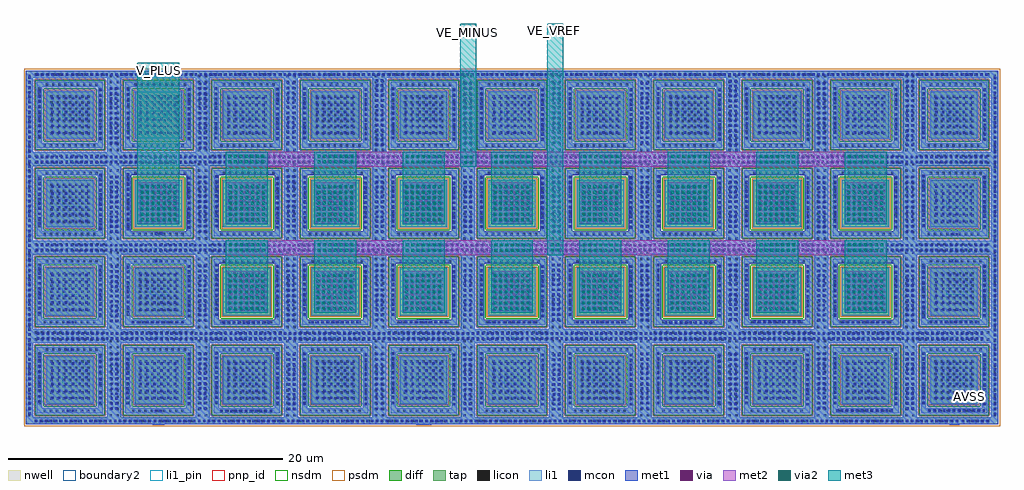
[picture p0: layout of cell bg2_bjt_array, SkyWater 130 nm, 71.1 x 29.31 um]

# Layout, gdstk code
import gdstk
lib = gdstk.Library(unit=1e-6, precision=1e-09)
def R(c, l, rs):  # rectangles x0, y0, x1, y1
    for r in rs: c.add(gdstk.rectangle(r[:2], r[2:], *l))
def A(c, l, x, y, w, h, nx, ny, dx, dy):  # array of equal rectangles
    R(c, l, [(x+i*dx, y+j*dy, x+i*dx+w, y+j*dy+h) for i in range(nx) for j in range(ny)])
def P(c, l, *ps):  # polygons
    for p in ps: c.add(gdstk.Polygon(p, *l))
nwell = (64, 20)
diff = (65, 20)
tap = (65, 44)
licon = (66, 44)
li1_pin = (67, 16)
li1 = (67, 20)
mcon = (67, 44)
met1 = (68, 20)
via = (68, 44)
met2 = (69, 20)
via2 = (69, 44)
met3 = (70, 20)
pnp_id = (82, 44)
nsdm = (93, 44)
psdm = (94, 20)
boundary2 = (236, 0)

sky130_fd_pr__rf_pnp_05v = lib.new_cell('sky130_fd_pr__rf_pnp_05v5_W3p40L3p40')
R(sky130_fd_pr__rf_pnp_05v, nwell, [(0.765,0.765,5.935,5.935)])
R(sky130_fd_pr__rf_pnp_05v, diff, [(1.65,1.65,5.05,5.05)])
P(sky130_fd_pr__rf_pnp_05v, tap, [(0.945,0.945),(5.755,0.945),(5.755,5.755),(5.395,5.755),(5.395,1.305),(1.305,1.305),(1.305,5.395),(5.395,5.395),(5.395,5.755),(0.945,5.755)],
  [(0.13,0.13),(6.57,0.13),(6.57,6.57),(6.065,6.57),(6.065,0.635),(0.635,0.635),(0.635,6.065),(6.065,6.065),(6.065,6.57),(0.13,6.57)])
A(sky130_fd_pr__rf_pnp_05v, licon, 0.78, 0.29, 0.17, 0.17, 12, 2, 0.45, 5.935)
A(sky130_fd_pr__rf_pnp_05v, licon, 0.3, 0.71, 0.17, 0.17, 1, 13, 0, 0.45)
A(sky130_fd_pr__rf_pnp_05v, licon, 6.235, 0.71, 0.17, 0.17, 1, 13, 0, 0.45)
A(sky130_fd_pr__rf_pnp_05v, licon, 1.43, 1.04, 0.17, 0.17, 9, 1, 0.45, 0)
A(sky130_fd_pr__rf_pnp_05v, licon, 5.49, 1.51, 0.17, 0.17, 1, 9, 0, 0.45)
A(sky130_fd_pr__rf_pnp_05v, licon, 1.04, 1.605, 0.17, 0.17, 1, 9, 0, 0.45)
A(sky130_fd_pr__rf_pnp_05v, licon, 1.92, 1.92, 0.17, 0.17, 7, 7, 0.45, 0.45)
A(sky130_fd_pr__rf_pnp_05v, licon, 1.6, 5.49, 0.17, 0.17, 9, 1, 0.45, 0)
R(sky130_fd_pr__rf_pnp_05v, li1_pin, [(2.77,3.13,4.01,3.65), (2.95,5.51,3.54,5.71), (3.065,6.26,3.57,6.505)])
A(sky130_fd_pr__rf_pnp_05v, li1, 0.58, 0.21, 0.33, 0.33, 12, 1, 0.45, 0)
A(sky130_fd_pr__rf_pnp_05v, li1, 0.675, 0.24, 0.27, 0.27, 11, 2, 0.5, 5.96)
A(sky130_fd_pr__rf_pnp_05v, li1, 6.16, 0.54, 0.33, 0.33, 1, 13, 0, 0.45)
A(sky130_fd_pr__rf_pnp_05v, li1, 0.22, 0.63, 0.33, 0.33, 1, 13, 0, 0.45)
A(sky130_fd_pr__rf_pnp_05v, li1, 1.35, 0.96, 0.33, 0.33, 9, 1, 0.45, 0)
A(sky130_fd_pr__rf_pnp_05v, li1, 1.14, 0.985, 0.27, 0.27, 9, 1, 0.5, 0)
A(sky130_fd_pr__rf_pnp_05v, li1, 5.41, 1.43, 0.33, 0.33, 1, 9, 0, 0.45)
A(sky130_fd_pr__rf_pnp_05v, li1, 0.96, 1.525, 0.33, 0.33, 1, 9, 0, 0.45)
A(sky130_fd_pr__rf_pnp_05v, li1, 1.84, 1.84, 0.33, 0.33, 7, 7, 0.45, 0.45)
A(sky130_fd_pr__rf_pnp_05v, li1, 1.93, 1.93, 0.27, 0.27, 6, 6, 0.5, 0.5)
A(sky130_fd_pr__rf_pnp_05v, li1, 1.52, 5.41, 0.33, 0.33, 9, 1, 0.45, 0)
A(sky130_fd_pr__rf_pnp_05v, li1, 1.155, 5.44, 0.27, 0.27, 9, 1, 0.5, 0)
A(sky130_fd_pr__rf_pnp_05v, li1, 0.7, 6.165, 0.33, 0.33, 12, 1, 0.45, 0)
R(sky130_fd_pr__rf_pnp_05v, li1, [(1.615,1.615,5.085,5.085), (1.65,1.65,5.05,5.05)])
P(sky130_fd_pr__rf_pnp_05v, li1, [(0.13,0.13),(6.57,0.13),(6.57,6.57),(6.075,6.57),(6.075,0.625),(0.625,0.625),(0.625,6.075),(6.075,6.075),(6.075,6.57),(0.13,6.57)],
  [(0.945,0.945),(5.755,0.945),(5.755,5.755),(5.395,5.755),(5.395,1.305),(1.305,1.305),(1.305,5.395),(5.395,5.395),(5.395,5.755),(0.945,5.755)])
A(sky130_fd_pr__rf_pnp_05v, mcon, 1.98, 1.98, 0.17, 0.17, 6, 6, 0.5, 0.5)
A(sky130_fd_pr__rf_pnp_05v, met1, 1.93, 1.93, 0.27, 0.27, 6, 6, 0.5, 0.5)
R(sky130_fd_pr__rf_pnp_05v, met1, [(1.825,1.825,4.875,4.875)])
R(sky130_fd_pr__rf_pnp_05v, pnp_id, [(0.135,0.135,6.565,6.565)])
P(sky130_fd_pr__rf_pnp_05v, nsdm, [(0.805,0.805),(5.895,0.805),(5.895,5.895),(5.265,5.895),(5.265,1.435),(1.435,1.435),(1.435,5.265),(5.265,5.265),(5.265,5.895),(0.805,5.895)])
R(sky130_fd_pr__rf_pnp_05v, psdm, [(1.52,1.52,5.18,5.18)])
P(sky130_fd_pr__rf_pnp_05v, psdm, [(0,0),(6.7,0),(6.7,6.7),(5.935,6.7),(5.935,0.765),(0.765,0.765),(0.765,5.935),(5.935,5.935),(5.935,6.7),(0,6.7)])
R(sky130_fd_pr__rf_pnp_05v, boundary2, [(0.13,0.13,6.57,6.57)])
sky130_fd_pr__rf_pnp_05v.add(gdstk.Label('Emitter', (3.39,3.39), layer=67, texttype=5))
sky130_fd_pr__rf_pnp_05v.add(gdstk.Label('Collector', (3.32,6.38), layer=67, texttype=5))
sky130_fd_pr__rf_pnp_05v.add(gdstk.Label('Base', (3.245,5.61), layer=67, texttype=5))

bg2_bjt_array = lib.new_cell('bg2_bjt_array')
A(bg2_bjt_array, li1, 39.68, 1.61, 0.19, 3.82, 3, 1, 6.44, 0)
R(bg2_bjt_array, li1, [(60.955,0.215,61.525,0.29), (67.51,0.22,68.08,0.29), (0.785,0.29,70.325,0.475), (60.955,0.475,61.525,0.55), (67.51,0.475,68.08,0.555), (70.565,0.66,70.91,25.625), (0.29,0.71,0.51,25.63), (59.09,0.99,63.39,1.29), (14.2,1.01,18.17,1.22), (65.8,1.01,70.1,1.31), (3.1,1.03,3.67,1.24), (9.5,1.03,10.07,1.24), (38.39,1.03,39.23,5.42), (19.07,1.04,19.91,5.43), (31.91,1.04,32.75,5.43), (51.25,1.06,52.09,5.45), (25.47,1.07,26.31,5.46), (6.16,1.08,7,5.47), (64.13,1.09,64.97,5.48), (12.6,1.1,13.44,5.49), (44.81,1.1,45.65,5.49), (57.68,1.11,58.52,5.5), (11.92,1.43,12.13,5.53), (18.36,1.46,18.57,5.56), (5.46,1.49,5.66,2.82), (50.55,1.49,50.74,2.87), (13.92,1.5,14.13,5.6), (31.25,1.5,31.44,5.32), (37.7,1.5,37.89,5.32), (44.12,1.5,44.31,5.32), (57,1.5,57.19,5.32), (24.81,1.51,25,5.33), (69.88,1.51,70.07,5.33), (63.39,1.53,63.66,5.41), (20.36,1.54,20.55,5.36), (1.03,1.57,1.23,5.33), (7.42,1.59,7.68,5.38), (33.23,1.59,33.42,5.41), (65.43,1.59,65.62,5.41), (26.8,1.61,26.99,5.43), (58.99,1.61,59.18,5.43), (5.46,2.82,5.7,3.57), (50.55,2.87,50.75,3.605), (5.46,3.57,5.66,5.25), (50.55,3.605,50.74,5.31), (3.09,5.47,3.66,5.68), (3.1,6.21,3.645,6.22), (0.77,6.22,70.05,6.91), (9.535,6.91,10.08,6.93), (67.53,6.91,68.075,6.92), (7.8,7.45,11.67,7.71), (6.16,7.46,7,11.85), (14.32,7.46,18.07,7.65), (46.53,7.47,50.28,7.66), (3.1,7.48,3.67,7.69), (20.79,7.48,24.54,7.67), (27.24,7.48,30.99,7.67), (33.66,7.48,37.41,7.67), (40.1,7.48,43.85,7.67), (19.06,7.49,19.845,11.94), (59.44,7.49,63.19,7.68), (52.98,7.5,56.73,7.69), (65.85,7.5,69.6,7.69), (12.6,7.505,13.415,11.905), (64.15,7.505,64.955,11.915), (44.82,7.525,45.625,11.95), (57.75,7.535,58.445,11.895), (25.525,7.545,26.265,11.94), (51.265,7.545,52.035,11.995), (31.96,7.56,32.72,11.895), (38.38,7.57,39.175,11.97), (65.395,7.77,65.66,11.75), (63.42,7.835,63.685,11.815), (11.89,7.845,12.165,11.87), (18.335,7.845,18.59,11.885), (57.01,7.855,57.21,11.825), (24.765,7.865,25.03,11.85), (37.66,7.88,37.905,11.805), (59,7.88,59.2,11.85), (5.47,7.89,5.67,11.65), (31.23,7.89,31.45,11.805), (44.105,7.89,44.345,11.84), (50.535,7.9,50.78,11.84), (69.87,7.91,70.09,11.86), (13.89,7.92,14.165,11.945), (20.33,7.935,20.585,11.975), (52.52,7.955,52.765,11.895), (46.1,7.965,46.34,11.915), (33.225,7.975,33.445,11.89), (39.66,7.975,39.9,11.895), (26.775,7.99,27.015,11.885), (1.03,8,1.23,11.76), (7.47,8.08,7.67,11.84), (9.425,11.905,10.175,12.135), (67.53,11.925,68.105,12.13), (9.44,12.59,10.15,12.67), (0.75,12.67,70.3,13.34), (3.1,13.34,3.645,13.415), (9.44,13.34,10.15,13.44), (67.525,13.34,68.07,13.375), (67.5,13.895,68.075,14.1), (9.44,13.92,10.19,14.15), (6.18,13.935,6.965,18.41), (57.745,13.99,58.465,18.305), (12.595,14,13.435,18.38), (44.85,14,45.58,18.335), (64.145,14,64.93,18.36), (31.995,14.015,32.695,18.325), (51.305,14.015,52.025,18.335), (38.42,14.025,39.16,18.335), (19.11,14.035,19.82,18.41), (25.555,14.035,26.255,18.305), (5.47,14.24,5.71,18.435), (7.455,14.26,7.695,18.455), (18.38,14.295,18.565,18.23), (11.9,14.305,12.13,18.25), (37.685,14.305,37.89,18.285), (50.55,14.315,50.785,18.295), (44.12,14.325,44.31,18.315), (56.995,14.335,57.21,18.285), (63.445,14.335,63.66,18.345), (20.37,14.345,20.555,18.28), (31.235,14.355,31.44,18.21), (39.675,14.37,39.88,18.35), (24.81,14.38,24.985,18.23), (58.995,14.38,59.21,18.33), (52.53,14.39,52.765,18.37), (69.86,14.39,70.08,18.34), (46.13,14.4,46.32,18.39), (33.235,14.41,33.44,18.265), (65.425,14.43,65.64,18.44), (13.895,14.435,14.155,18.345), (26.8,14.445,26.975,18.295), (1.03,14.51,1.23,18.27), (3.105,19.065,3.65,19.08), (0.75,19.08,70.29,19.83), (12.64,20.03,13.37,25.21), (64.13,20.37,64.95,25.26), (51.26,20.38,52.05,25.23), (57.72,20.39,58.48,25.22), (25.52,20.41,26.28,25.27), (38.39,20.41,39.19,25.23), (44.84,20.41,45.6,25.24), (31.94,20.42,32.75,25.19), (6.11,20.43,6.95,24.82), (19.07,20.44,19.82,25.25), (56.99,20.7,57.24,24.66), (31.24,20.75,31.46,24.65), (37.66,20.75,37.9,24.65), (44.09,20.75,44.35,24.67), (50.56,20.75,50.8,24.65), (69.86,20.75,70.14,24.63), (24.8,20.77,25.02,24.67), (63.43,20.77,63.68,24.7), (11.91,20.82,12.14,24.69), (18.36,20.82,18.57,24.73), (5.46,20.83,5.66,22.365), (13.89,20.83,14.1,24.74), (26.8,20.83,27.02,24.73), (39.66,20.84,39.9,24.74), (52.54,20.84,52.78,24.74), (58.97,20.84,59.22,24.8), (20.34,20.85,20.55,24.76), (33.22,20.85,33.44,24.75), (46.09,20.85,46.35,24.77), (65.41,20.85,65.66,24.78), (1.03,20.88,1.23,24.64), (7.51,20.92,7.71,22.375), (5.46,22.365,5.665,23.1), (7.495,22.375,7.71,23.11), (5.46,23.1,5.66,24.59), (7.51,23.11,7.71,24.68), (0.79,25.55,70.33,25.735)])
A(bg2_bjt_array, mcon, 0.81, 0.295, 0.17, 0.17, 167, 1, 0.36, 0)
A(bg2_bjt_array, mcon, 61.73, 0.295, 0.17, 0.17, 16, 1, 0.36, 0)
A(bg2_bjt_array, mcon, 68.31, 0.295, 0.17, 0.17, 6, 1, 0.36, 0)
A(bg2_bjt_array, mcon, 70.65, 0.815, 0.17, 0.17, 1, 69, 0, 0.36)
A(bg2_bjt_array, mcon, 0.315, 0.845, 0.17, 0.17, 1, 69, 0, 0.36)
A(bg2_bjt_array, mcon, 14.3, 1.03, 0.17, 0.17, 11, 1, 0.36, 0)
A(bg2_bjt_array, mcon, 59.175, 1.055, 0.17, 0.17, 12, 1, 0.36, 0)
A(bg2_bjt_array, mcon, 65.885, 1.075, 0.17, 0.17, 12, 1, 0.36, 0)
A(bg2_bjt_array, mcon, 38.545, 1.16, 0.17, 0.17, 1, 12, 0, 0.36)
A(bg2_bjt_array, mcon, 38.905, 1.16, 0.17, 0.17, 1, 12, 0, 0.36)
A(bg2_bjt_array, mcon, 19.225, 1.17, 0.17, 0.17, 1, 12, 0, 0.36)
A(bg2_bjt_array, mcon, 19.585, 1.17, 0.17, 0.17, 1, 12, 0, 0.36)
A(bg2_bjt_array, mcon, 32.065, 1.17, 0.17, 0.17, 1, 12, 0, 0.36)
A(bg2_bjt_array, mcon, 32.425, 1.17, 0.17, 0.17, 1, 12, 0, 0.36)
A(bg2_bjt_array, mcon, 51.405, 1.19, 0.17, 0.17, 1, 12, 0, 0.36)
A(bg2_bjt_array, mcon, 51.765, 1.19, 0.17, 0.17, 1, 12, 0, 0.36)
A(bg2_bjt_array, mcon, 25.625, 1.2, 0.17, 0.17, 1, 12, 0, 0.36)
A(bg2_bjt_array, mcon, 25.985, 1.2, 0.17, 0.17, 1, 12, 0, 0.36)
A(bg2_bjt_array, mcon, 6.315, 1.21, 0.17, 0.17, 1, 12, 0, 0.36)
A(bg2_bjt_array, mcon, 6.675, 1.21, 0.17, 0.17, 1, 12, 0, 0.36)
A(bg2_bjt_array, mcon, 64.285, 1.22, 0.17, 0.17, 1, 12, 0, 0.36)
A(bg2_bjt_array, mcon, 64.645, 1.22, 0.17, 0.17, 1, 12, 0, 0.36)
A(bg2_bjt_array, mcon, 12.755, 1.23, 0.17, 0.17, 1, 12, 0, 0.36)
A(bg2_bjt_array, mcon, 13.115, 1.23, 0.17, 0.17, 1, 12, 0, 0.36)
A(bg2_bjt_array, mcon, 44.965, 1.23, 0.17, 0.17, 1, 12, 0, 0.36)
A(bg2_bjt_array, mcon, 45.325, 1.23, 0.17, 0.17, 1, 12, 0, 0.36)
A(bg2_bjt_array, mcon, 57.835, 1.24, 0.17, 0.17, 1, 12, 0, 0.36)
A(bg2_bjt_array, mcon, 58.195, 1.24, 0.17, 0.17, 1, 12, 0, 0.36)
A(bg2_bjt_array, mcon, 31.26, 1.525, 0.17, 0.17, 1, 11, 0, 0.36)
A(bg2_bjt_array, mcon, 37.71, 1.525, 0.17, 0.17, 1, 11, 0, 0.36)
A(bg2_bjt_array, mcon, 44.13, 1.525, 0.17, 0.17, 1, 11, 0, 0.36)
A(bg2_bjt_array, mcon, 57.01, 1.525, 0.17, 0.17, 1, 11, 0, 0.36)
A(bg2_bjt_array, mcon, 24.82, 1.535, 0.17, 0.17, 1, 11, 0, 0.36)
A(bg2_bjt_array, mcon, 69.89, 1.535, 0.17, 0.17, 1, 11, 0, 0.36)
A(bg2_bjt_array, mcon, 20.37, 1.565, 0.17, 0.17, 1, 11, 0, 0.36)
A(bg2_bjt_array, mcon, 63.44, 1.585, 0.17, 0.17, 1, 11, 0, 0.36)
A(bg2_bjt_array, mcon, 11.94, 1.595, 0.17, 0.17, 1, 11, 0, 0.36)
A(bg2_bjt_array, mcon, 7.465, 1.6, 0.17, 0.17, 1, 11, 0, 0.36)
A(bg2_bjt_array, mcon, 5.475, 1.615, 0.17, 0.17, 1, 3, 0, 0.36)
A(bg2_bjt_array, mcon, 33.24, 1.615, 0.17, 0.17, 1, 11, 0, 0.36)
A(bg2_bjt_array, mcon, 65.44, 1.615, 0.17, 0.17, 1, 11, 0, 0.36)
A(bg2_bjt_array, mcon, 18.38, 1.625, 0.17, 0.17, 1, 11, 0, 0.36)
A(bg2_bjt_array, mcon, 26.81, 1.635, 0.17, 0.17, 1, 11, 0, 0.36)
A(bg2_bjt_array, mcon, 39.69, 1.635, 0.17, 0.17, 3, 11, 6.44, 0.36)
A(bg2_bjt_array, mcon, 59, 1.635, 0.17, 0.17, 1, 11, 0, 0.36)
A(bg2_bjt_array, mcon, 50.56, 1.64, 0.17, 0.17, 1, 3, 0, 0.36)
A(bg2_bjt_array, mcon, 13.94, 1.665, 0.17, 0.17, 1, 11, 0, 0.36)
A(bg2_bjt_array, mcon, 1.045, 1.745, 0.17, 0.17, 1, 10, 0, 0.36)
A(bg2_bjt_array, mcon, 5.475, 3.88, 0.17, 0.17, 1, 4, 0, 0.36)
A(bg2_bjt_array, mcon, 50.56, 3.925, 0.17, 0.17, 1, 4, 0, 0.36)
A(bg2_bjt_array, mcon, 0.945, 6.305, 0.17, 0.17, 192, 2, 0.36, 0.36)
A(bg2_bjt_array, mcon, 14.49, 7.47, 0.17, 0.17, 10, 1, 0.36, 0)
A(bg2_bjt_array, mcon, 46.7, 7.48, 0.17, 0.17, 10, 1, 0.36, 0)
A(bg2_bjt_array, mcon, 20.96, 7.49, 0.17, 0.17, 10, 1, 0.36, 0)
A(bg2_bjt_array, mcon, 27.41, 7.49, 0.17, 0.17, 10, 1, 0.36, 0)
A(bg2_bjt_array, mcon, 33.83, 7.49, 0.17, 0.17, 10, 1, 0.36, 0)
A(bg2_bjt_array, mcon, 40.27, 7.49, 0.17, 0.17, 10, 1, 0.36, 0)
A(bg2_bjt_array, mcon, 7.85, 7.495, 0.17, 0.17, 11, 1, 0.36, 0)
A(bg2_bjt_array, mcon, 59.61, 7.5, 0.17, 0.17, 10, 1, 0.36, 0)
A(bg2_bjt_array, mcon, 53.15, 7.51, 0.17, 0.17, 10, 1, 0.36, 0)
A(bg2_bjt_array, mcon, 66.02, 7.51, 0.17, 0.17, 10, 1, 0.36, 0)
A(bg2_bjt_array, mcon, 6.315, 7.59, 0.17, 0.17, 1, 12, 0, 0.36)
A(bg2_bjt_array, mcon, 6.675, 7.59, 0.17, 0.17, 1, 12, 0, 0.36)
A(bg2_bjt_array, mcon, 12.74, 7.64, 0.17, 0.17, 1, 12, 0, 0.36)
A(bg2_bjt_array, mcon, 13.1, 7.64, 0.17, 0.17, 1, 12, 0, 0.36)
A(bg2_bjt_array, mcon, 64.285, 7.645, 0.17, 0.17, 1, 12, 0, 0.36)
A(bg2_bjt_array, mcon, 64.645, 7.645, 0.17, 0.17, 1, 12, 0, 0.36)
A(bg2_bjt_array, mcon, 19.185, 7.65, 0.17, 0.17, 1, 12, 0, 0.36)
A(bg2_bjt_array, mcon, 19.545, 7.65, 0.17, 0.17, 1, 12, 0, 0.36)
A(bg2_bjt_array, mcon, 57.83, 7.65, 0.17, 0.17, 1, 12, 0, 0.36)
A(bg2_bjt_array, mcon, 58.19, 7.65, 0.17, 0.17, 1, 12, 0, 0.36)
A(bg2_bjt_array, mcon, 32.075, 7.66, 0.17, 0.17, 1, 12, 0, 0.36)
A(bg2_bjt_array, mcon, 32.435, 7.66, 0.17, 0.17, 1, 12, 0, 0.36)
A(bg2_bjt_array, mcon, 44.955, 7.67, 0.17, 0.17, 1, 12, 0, 0.36)
A(bg2_bjt_array, mcon, 45.315, 7.67, 0.17, 0.17, 1, 12, 0, 0.36)
A(bg2_bjt_array, mcon, 25.63, 7.675, 0.17, 0.17, 1, 12, 0, 0.36)
A(bg2_bjt_array, mcon, 25.99, 7.675, 0.17, 0.17, 1, 12, 0, 0.36)
A(bg2_bjt_array, mcon, 38.51, 7.705, 0.17, 0.17, 1, 12, 0, 0.36)
A(bg2_bjt_array, mcon, 38.87, 7.705, 0.17, 0.17, 1, 12, 0, 0.36)
A(bg2_bjt_array, mcon, 51.385, 7.705, 0.17, 0.17, 1, 12, 0, 0.36)
A(bg2_bjt_array, mcon, 51.745, 7.705, 0.17, 0.17, 1, 12, 0, 0.36)
A(bg2_bjt_array, mcon, 65.44, 7.875, 0.17, 0.17, 1, 11, 0, 0.36)
A(bg2_bjt_array, mcon, 63.465, 7.94, 0.17, 0.17, 1, 11, 0, 0.36)
A(bg2_bjt_array, mcon, 37.695, 7.955, 0.17, 0.17, 1, 11, 0, 0.36)
A(bg2_bjt_array, mcon, 57.025, 7.955, 0.17, 0.17, 1, 11, 0, 0.36)
A(bg2_bjt_array, mcon, 31.255, 7.96, 0.17, 0.17, 1, 11, 0, 0.36)
A(bg2_bjt_array, mcon, 11.94, 7.97, 0.17, 0.17, 1, 11, 0, 0.36)
A(bg2_bjt_array, mcon, 24.81, 7.97, 0.17, 0.17, 1, 11, 0, 0.36)
A(bg2_bjt_array, mcon, 18.375, 7.98, 0.17, 0.17, 1, 11, 0, 0.36)
A(bg2_bjt_array, mcon, 44.14, 7.98, 0.17, 0.17, 1, 11, 0, 0.36)
A(bg2_bjt_array, mcon, 59.015, 7.98, 0.17, 0.17, 1, 11, 0, 0.36)
A(bg2_bjt_array, mcon, 50.57, 7.985, 0.17, 0.17, 1, 11, 0, 0.36)
A(bg2_bjt_array, mcon, 69.895, 8, 0.17, 0.17, 1, 11, 0, 0.36)
A(bg2_bjt_array, mcon, 52.555, 8.04, 0.17, 0.17, 1, 11, 0, 0.36)
A(bg2_bjt_array, mcon, 13.94, 8.045, 0.17, 0.17, 1, 11, 0, 0.36)
A(bg2_bjt_array, mcon, 33.25, 8.045, 0.17, 0.17, 1, 11, 0, 0.36)
A(bg2_bjt_array, mcon, 26.81, 8.05, 0.17, 0.17, 1, 11, 0, 0.36)
A(bg2_bjt_array, mcon, 39.695, 8.05, 0.17, 0.17, 1, 11, 0, 0.36)
A(bg2_bjt_array, mcon, 46.135, 8.055, 0.17, 0.17, 1, 11, 0, 0.36)
A(bg2_bjt_array, mcon, 5.485, 8.065, 0.17, 0.17, 1, 10, 0, 0.36)
A(bg2_bjt_array, mcon, 20.37, 8.07, 0.17, 0.17, 1, 11, 0, 0.36)
A(bg2_bjt_array, mcon, 1.045, 8.175, 0.17, 0.17, 1, 10, 0, 0.36)
A(bg2_bjt_array, mcon, 7.485, 8.255, 0.17, 0.17, 1, 10, 0, 0.36)
A(bg2_bjt_array, mcon, 0.88, 12.75, 0.17, 0.17, 193, 2, 0.36, 0.36)
A(bg2_bjt_array, mcon, 57.84, 14.08, 0.17, 0.17, 1, 12, 0, 0.36)
A(bg2_bjt_array, mcon, 58.2, 14.08, 0.17, 0.17, 1, 12, 0, 0.36)
A(bg2_bjt_array, mcon, 44.95, 14.1, 0.17, 0.17, 1, 12, 0, 0.36)
A(bg2_bjt_array, mcon, 45.31, 14.1, 0.17, 0.17, 1, 12, 0, 0.36)
A(bg2_bjt_array, mcon, 6.305, 14.105, 0.17, 0.17, 1, 12, 0, 0.36)
A(bg2_bjt_array, mcon, 6.665, 14.105, 0.17, 0.17, 1, 12, 0, 0.36)
A(bg2_bjt_array, mcon, 25.64, 14.105, 0.17, 0.17, 1, 12, 0, 0.36)
A(bg2_bjt_array, mcon, 26, 14.105, 0.17, 0.17, 1, 12, 0, 0.36)
A(bg2_bjt_array, mcon, 32.08, 14.105, 0.17, 0.17, 1, 12, 0, 0.36)
A(bg2_bjt_array, mcon, 32.44, 14.105, 0.17, 0.17, 1, 12, 0, 0.36)
A(bg2_bjt_array, mcon, 51.4, 14.11, 0.17, 0.17, 1, 12, 0, 0.36)
A(bg2_bjt_array, mcon, 51.76, 14.11, 0.17, 0.17, 1, 12, 0, 0.36)
A(bg2_bjt_array, mcon, 38.525, 14.115, 0.17, 0.17, 1, 12, 0, 0.36)
A(bg2_bjt_array, mcon, 38.885, 14.115, 0.17, 0.17, 1, 12, 0, 0.36)
A(bg2_bjt_array, mcon, 64.27, 14.115, 0.17, 0.17, 1, 12, 0, 0.36)
A(bg2_bjt_array, mcon, 64.63, 14.115, 0.17, 0.17, 1, 12, 0, 0.36)
A(bg2_bjt_array, mcon, 12.75, 14.125, 0.17, 0.17, 1, 12, 0, 0.36)
A(bg2_bjt_array, mcon, 13.11, 14.125, 0.17, 0.17, 1, 12, 0, 0.36)
A(bg2_bjt_array, mcon, 19.2, 14.155, 0.17, 0.17, 1, 12, 0, 0.36)
A(bg2_bjt_array, mcon, 19.56, 14.155, 0.17, 0.17, 1, 12, 0, 0.36)
A(bg2_bjt_array, mcon, 5.505, 14.27, 0.17, 0.17, 1, 12, 0, 0.36)
A(bg2_bjt_array, mcon, 7.49, 14.29, 0.17, 0.17, 1, 12, 0, 0.36)
A(bg2_bjt_array, mcon, 18.385, 14.375, 0.17, 0.17, 1, 11, 0, 0.36)
A(bg2_bjt_array, mcon, 11.93, 14.39, 0.17, 0.17, 1, 11, 0, 0.36)
A(bg2_bjt_array, mcon, 31.25, 14.395, 0.17, 0.17, 1, 11, 0, 0.36)
A(bg2_bjt_array, mcon, 37.7, 14.41, 0.17, 0.17, 1, 11, 0, 0.36)
A(bg2_bjt_array, mcon, 24.81, 14.42, 0.17, 0.17, 1, 11, 0, 0.36)
A(bg2_bjt_array, mcon, 50.58, 14.42, 0.17, 0.17, 1, 11, 0, 0.36)
A(bg2_bjt_array, mcon, 20.375, 14.425, 0.17, 0.17, 1, 11, 0, 0.36)
A(bg2_bjt_array, mcon, 57.015, 14.425, 0.17, 0.17, 1, 11, 0, 0.36)
A(bg2_bjt_array, mcon, 44.13, 14.435, 0.17, 0.17, 1, 11, 0, 0.36)
A(bg2_bjt_array, mcon, 33.25, 14.45, 0.17, 0.17, 1, 11, 0, 0.36)
A(bg2_bjt_array, mcon, 63.465, 14.455, 0.17, 0.17, 1, 11, 0, 0.36)
A(bg2_bjt_array, mcon, 59.015, 14.47, 0.17, 0.17, 1, 11, 0, 0.36)
A(bg2_bjt_array, mcon, 39.69, 14.475, 0.17, 0.17, 1, 11, 0, 0.36)
A(bg2_bjt_array, mcon, 69.885, 14.48, 0.17, 0.17, 1, 11, 0, 0.36)
A(bg2_bjt_array, mcon, 26.8, 14.485, 0.17, 0.17, 1, 11, 0, 0.36)
A(bg2_bjt_array, mcon, 52.56, 14.495, 0.17, 0.17, 1, 11, 0, 0.36)
A(bg2_bjt_array, mcon, 13.94, 14.505, 0.17, 0.17, 1, 11, 0, 0.36)
A(bg2_bjt_array, mcon, 46.14, 14.51, 0.17, 0.17, 1, 11, 0, 0.36)
A(bg2_bjt_array, mcon, 65.445, 14.55, 0.17, 0.17, 1, 11, 0, 0.36)
A(bg2_bjt_array, mcon, 1.045, 14.685, 0.17, 0.17, 1, 10, 0, 0.36)
A(bg2_bjt_array, mcon, 0.875, 19.18, 0.17, 0.17, 193, 2, 0.36, 0.36)
A(bg2_bjt_array, mcon, 12.74, 20.195, 0.17, 0.17, 1, 14, 0, 0.36)
A(bg2_bjt_array, mcon, 13.1, 20.195, 0.17, 0.17, 1, 14, 0, 0.36)
A(bg2_bjt_array, mcon, 51.39, 20.38, 0.17, 0.17, 1, 14, 0, 0.36)
A(bg2_bjt_array, mcon, 51.75, 20.38, 0.17, 0.17, 1, 14, 0, 0.36)
A(bg2_bjt_array, mcon, 64.275, 20.39, 0.17, 0.17, 1, 14, 0, 0.36)
A(bg2_bjt_array, mcon, 64.635, 20.39, 0.17, 0.17, 1, 14, 0, 0.36)
A(bg2_bjt_array, mcon, 25.635, 20.415, 0.17, 0.17, 1, 14, 0, 0.36)
A(bg2_bjt_array, mcon, 25.995, 20.415, 0.17, 0.17, 1, 14, 0, 0.36)
A(bg2_bjt_array, mcon, 6.265, 20.56, 0.17, 0.17, 1, 12, 0, 0.36)
A(bg2_bjt_array, mcon, 6.625, 20.56, 0.17, 0.17, 1, 12, 0, 0.36)
A(bg2_bjt_array, mcon, 32.08, 20.56, 0.17, 0.17, 1, 13, 0, 0.36)
A(bg2_bjt_array, mcon, 32.44, 20.56, 0.17, 0.17, 1, 13, 0, 0.36)
A(bg2_bjt_array, mcon, 57.835, 20.56, 0.17, 0.17, 1, 13, 0, 0.36)
A(bg2_bjt_array, mcon, 58.195, 20.56, 0.17, 0.17, 1, 13, 0, 0.36)
A(bg2_bjt_array, mcon, 38.525, 20.575, 0.17, 0.17, 1, 13, 0, 0.36)
A(bg2_bjt_array, mcon, 38.885, 20.575, 0.17, 0.17, 1, 13, 0, 0.36)
A(bg2_bjt_array, mcon, 44.955, 20.58, 0.17, 0.17, 1, 13, 0, 0.36)
A(bg2_bjt_array, mcon, 45.315, 20.58, 0.17, 0.17, 1, 13, 0, 0.36)
A(bg2_bjt_array, mcon, 19.18, 20.6, 0.17, 0.17, 1, 13, 0, 0.36)
A(bg2_bjt_array, mcon, 19.54, 20.6, 0.17, 0.17, 1, 13, 0, 0.36)
A(bg2_bjt_array, mcon, 57.03, 20.795, 0.17, 0.17, 1, 11, 0, 0.36)
A(bg2_bjt_array, mcon, 69.915, 20.805, 0.17, 0.17, 1, 11, 0, 0.36)
A(bg2_bjt_array, mcon, 31.265, 20.815, 0.17, 0.17, 1, 11, 0, 0.36)
A(bg2_bjt_array, mcon, 37.695, 20.815, 0.17, 0.17, 1, 11, 0, 0.36)
A(bg2_bjt_array, mcon, 50.595, 20.815, 0.17, 0.17, 1, 11, 0, 0.36)
A(bg2_bjt_array, mcon, 44.135, 20.825, 0.17, 0.17, 1, 11, 0, 0.36)
A(bg2_bjt_array, mcon, 24.825, 20.835, 0.17, 0.17, 1, 11, 0, 0.36)
A(bg2_bjt_array, mcon, 63.47, 20.85, 0.17, 0.17, 1, 11, 0, 0.36)
A(bg2_bjt_array, mcon, 11.94, 20.87, 0.17, 0.17, 1, 11, 0, 0.36)
A(bg2_bjt_array, mcon, 5.475, 20.875, 0.17, 0.17, 1, 4, 0, 0.36)
A(bg2_bjt_array, mcon, 18.38, 20.89, 0.17, 0.17, 1, 11, 0, 0.36)
A(bg2_bjt_array, mcon, 26.825, 20.895, 0.17, 0.17, 1, 11, 0, 0.36)
A(bg2_bjt_array, mcon, 13.91, 20.9, 0.17, 0.17, 1, 11, 0, 0.36)
A(bg2_bjt_array, mcon, 39.695, 20.905, 0.17, 0.17, 1, 11, 0, 0.36)
A(bg2_bjt_array, mcon, 52.575, 20.905, 0.17, 0.17, 1, 11, 0, 0.36)
A(bg2_bjt_array, mcon, 33.245, 20.915, 0.17, 0.17, 1, 11, 0, 0.36)
A(bg2_bjt_array, mcon, 20.36, 20.92, 0.17, 0.17, 1, 11, 0, 0.36)
A(bg2_bjt_array, mcon, 7.525, 20.925, 0.17, 0.17, 1, 4, 0, 0.36)
A(bg2_bjt_array, mcon, 46.135, 20.925, 0.17, 0.17, 1, 11, 0, 0.36)
A(bg2_bjt_array, mcon, 65.45, 20.93, 0.17, 0.17, 1, 11, 0, 0.36)
A(bg2_bjt_array, mcon, 59.01, 20.935, 0.17, 0.17, 1, 11, 0, 0.36)
A(bg2_bjt_array, mcon, 1.045, 21.055, 0.17, 0.17, 1, 10, 0, 0.36)
A(bg2_bjt_array, mcon, 5.475, 23.315, 0.17, 0.17, 1, 4, 0, 0.36)
A(bg2_bjt_array, mcon, 7.525, 23.365, 0.17, 0.17, 1, 4, 0, 0.36)
A(bg2_bjt_array, mcon, 0.915, 25.555, 0.17, 0.17, 193, 1, 0.36, 0)
R(bg2_bjt_array, mcon, [(60.975,0.295,61.145,0.465), (61.335,0.295,61.505,0.465), (67.53,0.3,67.7,0.47), (67.89,0.3,68.06,0.47), (3.12,1.05,3.29,1.22), (3.48,1.05,3.65,1.22), (9.52,1.05,9.69,1.22), (9.88,1.05,10.05,1.22), (5.495,3.025,5.665,3.195), (50.565,3.065,50.735,3.235), (5.495,3.385,5.665,3.555), (50.565,3.425,50.735,3.595), (3.11,5.49,3.28,5.66), (3.47,5.49,3.64,5.66), (3.12,7.5,3.29,7.67), (3.48,7.5,3.65,7.67), (9.535,11.935,9.705,12.105), (9.895,11.935,10.065,12.105), (67.55,11.94,67.72,12.11), (67.91,11.94,68.08,12.11), (67.52,13.91,67.69,14.08), (67.88,13.91,68.05,14.08), (9.55,13.95,9.72,14.12), (9.91,13.95,10.08,14.12), (7.515,22.38,7.685,22.55), (5.475,22.56,5.645,22.73), (7.515,22.74,7.685,22.91), (5.475,22.92,5.645,23.09)])
A(bg2_bjt_array, met1, 14.85, 14.845, 2.8, 2.815, 4, 1, 6.425, 0)
R(bg2_bjt_array, met1, [(9.38,0.12,10.23,0.135), (28.595,0.13,29.695,0.135), (67.435,0.13,68.145,0.135), (0.135,0.135,70.98,7.76), (0.135,7.76,14.21,11.87), (15.835,7.76,16.91,7.78), (18.28,7.76,20.64,11.87), (22.185,7.76,23.26,7.78), (24.735,7.76,27.08,11.87), (28.635,7.76,29.71,7.79), (31.165,7.76,33.525,11.87), (35.15,7.76,36.225,7.78), (37.585,7.76,39.97,11.87), (44.06,7.76,46.43,11.87), (50.47,7.76,52.83,11.87), (54.41,7.76,55.485,7.77), (56.935,7.76,59.285,11.87), (60.91,7.76,61.985,7.77), (63.375,7.76,70.98,9.22), (47.01,8.375,49.81,11.19), (53.43,8.375,56.23,11.19), (59.88,8.375,62.68,11.19), (14.81,8.38,17.61,11.195), (21.235,8.38,24.035,11.195), (27.675,8.38,30.475,11.195), (34.13,8.38,36.93,11.195), (40.56,8.38,43.36,11.195), (63.355,9.22,70.98,10.325), (63.375,10.325,70.98,11.87), (0.135,11.87,70.98,14.2), (0.135,14.2,7.82,18.33), (11.855,14.2,14.21,15.93), (18.285,14.2,20.645,18.33), (24.715,14.2,27.08,18.33), (31.16,14.2,33.525,18.33), (37.6,14.2,39.945,18.33), (44.055,14.2,46.4,18.33), (50.475,14.2,52.85,18.33), (56.895,14.2,59.275,18.33), (63.36,14.2,70.98,15.86), (40.58,14.845,43.38,17.66), (47.035,14.845,49.835,17.66), (53.42,14.845,56.22,17.66), (59.88,14.845,62.68,17.66), (8.42,14.85,11.21,17.655), (63.355,15.86,70.98,16.965), (11.825,15.93,14.21,16.625), (11.855,16.625,14.21,18.33), (63.36,16.965,70.98,18.33), (0.135,18.33,70.98,25.9)])
A(bg2_bjt_array, via, 47.215, 8.585, 0.15, 0.15, 8, 8, 0.32, 0.32)
A(bg2_bjt_array, via, 53.635, 8.585, 0.15, 0.15, 8, 8, 0.32, 0.32)
A(bg2_bjt_array, via, 60.085, 8.585, 0.15, 0.15, 8, 8, 0.32, 0.32)
A(bg2_bjt_array, via, 15.015, 8.59, 0.15, 0.15, 8, 8, 0.32, 0.32)
A(bg2_bjt_array, via, 21.44, 8.59, 0.15, 0.15, 8, 8, 0.32, 0.32)
A(bg2_bjt_array, via, 27.88, 8.59, 0.15, 0.15, 8, 8, 0.32, 0.32)
A(bg2_bjt_array, via, 34.335, 8.59, 0.15, 0.15, 8, 8, 0.32, 0.32)
A(bg2_bjt_array, via, 40.765, 8.59, 0.15, 0.15, 8, 8, 0.32, 0.32)
A(bg2_bjt_array, via, 8.62, 15.055, 0.15, 0.15, 8, 8, 0.32, 0.32)
A(bg2_bjt_array, via, 15.055, 15.055, 0.15, 0.15, 8, 8, 0.32, 0.32)
A(bg2_bjt_array, via, 21.48, 15.055, 0.15, 0.15, 8, 8, 0.32, 0.32)
A(bg2_bjt_array, via, 27.905, 15.055, 0.15, 0.15, 8, 8, 0.32, 0.32)
A(bg2_bjt_array, via, 34.33, 15.055, 0.15, 0.15, 8, 8, 0.32, 0.32)
A(bg2_bjt_array, via, 40.785, 15.055, 0.15, 0.15, 8, 8, 0.32, 0.32)
A(bg2_bjt_array, via, 47.24, 15.055, 0.15, 0.15, 8, 8, 0.32, 0.32)
A(bg2_bjt_array, via, 53.625, 15.055, 0.15, 0.15, 8, 8, 0.32, 0.32)
A(bg2_bjt_array, via, 60.085, 15.055, 0.15, 0.15, 8, 8, 0.32, 0.32)
A(bg2_bjt_array, met2, 14.715, 8.275, 3.05, 3.05, 8, 2, 6.44, 6.44)
R(bg2_bjt_array, met2, [(14.715,12.465,62.845,13.57), (8.27,14.715,11.325,17.765), (14.715,18.905,62.845,20.01)])
A(bg2_bjt_array, via2, 47.11, 8.48, 0.2, 0.2, 7, 7, 0.4, 0.4)
A(bg2_bjt_array, via2, 53.53, 8.48, 0.2, 0.2, 7, 7, 0.4, 0.4)
A(bg2_bjt_array, via2, 59.98, 8.48, 0.2, 0.2, 7, 7, 0.4, 0.4)
A(bg2_bjt_array, via2, 14.91, 8.485, 0.2, 0.2, 7, 7, 0.4, 0.4)
A(bg2_bjt_array, via2, 21.335, 8.485, 0.2, 0.2, 7, 7, 0.4, 0.4)
A(bg2_bjt_array, via2, 27.775, 8.485, 0.2, 0.2, 7, 7, 0.4, 0.4)
A(bg2_bjt_array, via2, 34.23, 8.485, 0.2, 0.2, 7, 7, 0.4, 0.4)
A(bg2_bjt_array, via2, 40.66, 8.485, 0.2, 0.2, 7, 7, 0.4, 0.4)
A(bg2_bjt_array, via2, 27.82, 12.705, 0.2, 0.2, 7, 2, 0.4, 0.4)
A(bg2_bjt_array, via2, 40.7, 12.705, 0.2, 0.2, 7, 2, 0.4, 0.4)
A(bg2_bjt_array, via2, 34.28, 12.715, 0.2, 0.2, 7, 2, 0.4, 0.4)
A(bg2_bjt_array, via2, 47.125, 12.72, 0.2, 0.2, 7, 2, 0.4, 0.4)
A(bg2_bjt_array, via2, 21.4, 12.725, 0.2, 0.2, 7, 2, 0.4, 0.4)
A(bg2_bjt_array, via2, 53.59, 12.725, 0.2, 0.2, 7, 2, 0.4, 0.4)
A(bg2_bjt_array, via2, 60.02, 12.73, 0.2, 0.2, 7, 2, 0.4, 0.4)
A(bg2_bjt_array, via2, 14.955, 12.735, 0.2, 0.2, 7, 2, 0.4, 0.4)
A(bg2_bjt_array, via2, 8.515, 14.95, 0.2, 0.2, 7, 7, 0.4, 0.4)
A(bg2_bjt_array, via2, 14.95, 14.95, 0.2, 0.2, 7, 7, 0.4, 0.4)
A(bg2_bjt_array, via2, 21.375, 14.95, 0.2, 0.2, 7, 7, 0.4, 0.4)
A(bg2_bjt_array, via2, 27.8, 14.95, 0.2, 0.2, 7, 7, 0.4, 0.4)
A(bg2_bjt_array, via2, 34.225, 14.95, 0.2, 0.2, 7, 7, 0.4, 0.4)
A(bg2_bjt_array, via2, 40.68, 14.95, 0.2, 0.2, 7, 7, 0.4, 0.4)
A(bg2_bjt_array, via2, 47.135, 14.95, 0.2, 0.2, 7, 7, 0.4, 0.4)
A(bg2_bjt_array, via2, 53.52, 14.95, 0.2, 0.2, 7, 7, 0.4, 0.4)
A(bg2_bjt_array, via2, 59.98, 14.95, 0.2, 0.2, 7, 7, 0.4, 0.4)
A(bg2_bjt_array, via2, 34.27, 19.155, 0.2, 0.2, 7, 2, 0.4, 0.4)
A(bg2_bjt_array, via2, 47.155, 19.155, 0.2, 0.2, 7, 2, 0.4, 0.4)
A(bg2_bjt_array, via2, 53.59, 19.155, 0.2, 0.2, 7, 2, 0.4, 0.4)
A(bg2_bjt_array, via2, 27.805, 19.16, 0.2, 0.2, 7, 2, 0.4, 0.4)
A(bg2_bjt_array, via2, 40.74, 19.16, 0.2, 0.2, 7, 2, 0.4, 0.4)
A(bg2_bjt_array, via2, 60.03, 19.16, 0.2, 0.2, 7, 2, 0.4, 0.4)
A(bg2_bjt_array, via2, 14.9, 19.165, 0.2, 0.2, 7, 2, 0.4, 0.4)
A(bg2_bjt_array, via2, 21.405, 19.165, 0.2, 0.2, 7, 2, 0.4, 0.4)
R(bg2_bjt_array, via2, [(38.41,12.735,38.61,12.935), (38.81,12.735,39.01,12.935), (38.41,13.135,38.61,13.335), (38.81,13.135,39.01,13.335), (32.065,19.125,32.265,19.325), (32.465,19.125,32.665,19.325), (32.065,19.525,32.265,19.725), (32.465,19.525,32.665,19.725)])
A(bg2_bjt_array, met3, 14.715, 8.275, 3.05, 5.295, 8, 2, 6.44, 6.44)
R(bg2_bjt_array, met3, [(38.145,12.465,39.295,29.32), (8.27,14.715,11.325,17.765), (8.275,17.765,11.325,26.49), (31.79,18.905,32.94,29.32)])
r = gdstk.Reference(sky130_fd_pr__rf_pnp_05v, (0.01,0.01)); r.repetition = gdstk.Repetition(11, 4, v1=(6.44,0), v2=(0,6.44)); bg2_bjt_array.add(r)
bg2_bjt_array.add(gdstk.Label('V_PLUS', (9.855,25.9), layer=70, texttype=5))
bg2_bjt_array.add(gdstk.Label('VE_MINUS', (32.335,28.7), layer=70, texttype=5))
bg2_bjt_array.add(gdstk.Label('VE_VREF', (38.69,28.84), layer=70, texttype=5))
bg2_bjt_array.add(gdstk.Label('AVSS', (68.915,2.15), layer=68, texttype=5))

lib.write_gds('bg2_bjt_array.gds')
